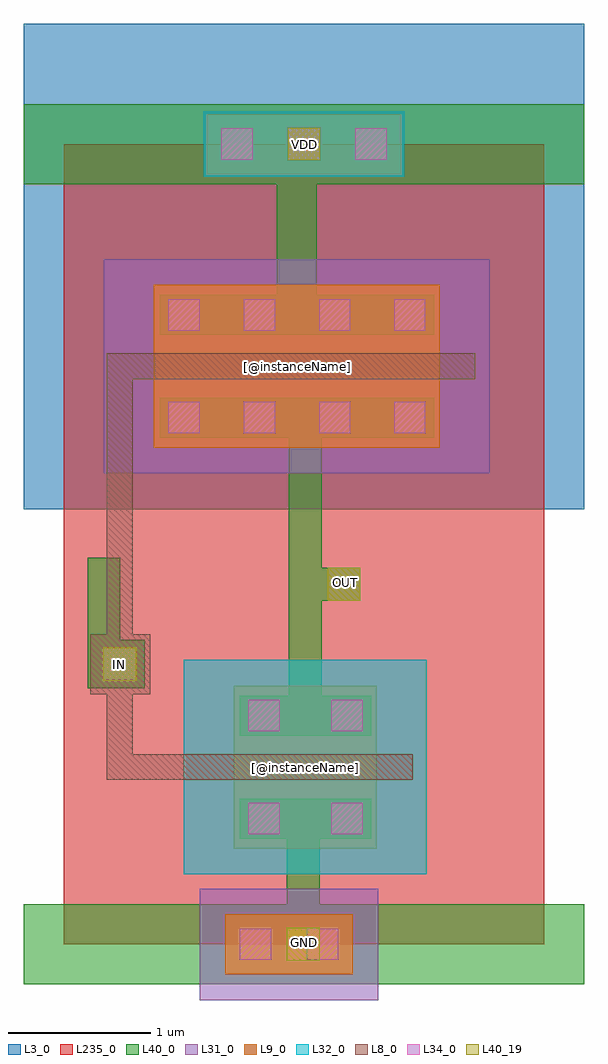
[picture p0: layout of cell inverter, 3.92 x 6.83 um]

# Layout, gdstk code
import gdstk
lib = gdstk.Library(unit=1e-6, precision=1e-09)
def R(c, l, rs):  # rectangles x0, y0, x1, y1
    for r in rs: c.add(gdstk.rectangle(r[:2], r[2:], *l))
def A(c, l, x, y, w, h, nx, ny, dx, dy):  # array of equal rectangles
    R(c, l, [(x+i*dx, y+j*dy, x+i*dx+w, y+j*dy+h) for i in range(nx) for j in range(ny)])
L3_0 = (3, 0)
L8_0 = (8, 0)
L9_0 = (9, 0)
L31_0 = (31, 0)
L32_0 = (32, 0)
L34_0 = (34, 0)
L40_0 = (40, 0)
L40_19 = (40, 19)
L235_0 = (235, 0)

ptap_lg_cdns_77814825674 = lib.new_cell('PTAP_LG_CDNS_778148256740')
R(ptap_lg_cdns_77814825674, L9_0, [(-0.445,-0.21,0.445,0.21)])
R(ptap_lg_cdns_77814825674, L31_0, [(-0.625,-0.39,0.625,0.39)])
R(ptap_lg_cdns_77814825674, L34_0, [(-0.345,-0.11,-0.125,0.11), (0.125,-0.11,0.345,0.11)])
R(ptap_lg_cdns_77814825674, L40_0, [(-0.405,-0.17,0.405,0.17)])

m1_po_cdns_778148256741 = lib.new_cell('M1_PO_CDNS_778148256741')
R(m1_po_cdns_778148256741, L8_0, [(-0.21,-0.21,0.21,0.21)])
R(m1_po_cdns_778148256741, L34_0, [(-0.11,-0.11,0.11,0.11)])
R(m1_po_cdns_778148256741, L40_0, [(-0.17,-0.17,0.17,0.17)])

m1_wn_cdns_778148256742 = lib.new_cell('M1_WN_CDNS_778148256742')
R(m1_wn_cdns_778148256742, L3_0, [(-0.86,-0.43,0.86,0.43)])
R(m1_wn_cdns_778148256742, L9_0, [(-0.68,-0.21,0.68,0.21)])
R(m1_wn_cdns_778148256742, L32_0, [(-0.7,-0.23,0.7,0.23)])
A(m1_wn_cdns_778148256742, L34_0, -0.58, -0.11, 0.22, 0.22, 3, 1, 0.47, 0)
R(m1_wn_cdns_778148256742, L40_0, [(-0.64,-0.17,0.64,0.17)])

inverter = lib.new_cell('inverter')
R(inverter, L3_0, [(-0.28,3.045,3.64,6.44), (0.2,3.045,3.06,5.045)])
R(inverter, L8_0, [(0.94,1.15,1.19,1.33), (1.19,1.15,2.19,1.33), (2.19,1.15,2.44,1.33), (0.38,3.955,0.63,4.135), (0.63,3.955,2.63,4.135), (2.63,3.955,2.88,4.135)])
R(inverter, L9_0, [(1.19,0.67,2.19,1.15), (1.19,1.15,2.19,1.33), (1.19,1.33,2.19,1.81), (0.63,3.475,2.63,3.955), (0.63,3.955,2.63,4.135), (0.63,4.135,2.63,4.615)])
R(inverter, L31_0, [(0.28,3.295,2.98,4.795)])
R(inverter, L32_0, [(0.84,0.49,2.54,1.99)])
A(inverter, L34_0, 1.26, 3.575, 0.22, 0.22, 3, 2, 0.525, 0.72)
R(inverter, L34_0, [(1.29,0.77,1.51,0.99), (1.87,0.77,2.09,0.99), (1.29,1.49,1.51,1.71), (1.87,1.49,2.09,1.71), (0.73,3.575,0.95,3.795), (0.73,4.295,0.95,4.515)])
R(inverter, L40_0, [(-0.28,-0.28,3.64,0.28), (1.23,0.74,2.15,1.02), (1.23,1.46,2.15,1.74), (0.67,3.545,2.59,3.825), (0.67,4.265,2.59,4.545), (-0.28,5.32,3.64,5.88)])
R(inverter, L40_19, [(1.56,-0.115,1.79,0.115), (0.275,1.845,0.505,2.075), (1.845,2.405,2.075,2.635), (1.565,5.485,1.795,5.715)])
R(inverter, L235_0, [(0,0,3.36,5.6)])
inverter.add(gdstk.FlexPath([(1.675,-0.115),(1.675,0.74)], 0.23, ends="flush", simple_path=True, layer=40, datatype=0))  # L40_0
inverter.add(gdstk.FlexPath([(1.63,4.405),(1.63,5.32)], 0.28, ends=(0.14, 0), simple_path=True, layer=40, datatype=0))  # L40_0
inverter.add(gdstk.FlexPath([(0.28,1.79),(0.28,2.705)], 0.23, ends="flush", simple_path=True, layer=40, datatype=0))  # L40_0
inverter.add(gdstk.FlexPath([(1.69,2.52),(1.69,3.545)], 0.23, ends=(0.115, 0), simple_path=True, layer=40, datatype=0))  # L40_0
inverter.add(gdstk.FlexPath([(1.69,1.74),(1.69,2.52)], 0.23, ends=(0, 0.115), simple_path=True, layer=40, datatype=0))  # L40_0
inverter.add(gdstk.FlexPath([(2.075,2.52),(1.69,2.52)], 0.23, ends=(0, 0.115), simple_path=True, layer=40, datatype=0))  # L40_0
inverter.add(gdstk.FlexPath([(0.39,1.24),(0.39,4.135)], 0.18, ends=(0.09, 0), simple_path=True, layer=8, datatype=0))  # L8_0
inverter.add(gdstk.FlexPath([(0.94,1.24),(0.39,1.24)], 0.18, ends=(0, 0.09), simple_path=True, layer=8, datatype=0))  # L8_0
inverter.add(gdstk.Reference(ptap_lg_cdns_77814825674, (1.575,0)))
inverter.add(gdstk.Reference(m1_po_cdns_778148256741, (0.395,1.96)))
inverter.add(gdstk.Reference(m1_wn_cdns_778148256742, (1.68,5.6)))
inverter.add(gdstk.Label('[@instanceName]', (1.632,4.045), layer=77, texttype=7))
inverter.add(gdstk.Label('[@instanceName]', (1.692,1.24), layer=77, texttype=7))
inverter.add(gdstk.Label('OUT', (1.97,2.53), layer=40, texttype=7))
inverter.add(gdstk.Label('IN', (0.39,1.96), layer=40, texttype=7))
inverter.add(gdstk.Label('GND', (1.68,0.01), layer=40, texttype=7))
inverter.add(gdstk.Label('VDD', (1.685,5.595), layer=40, texttype=7))
inverter.add(gdstk.Label('OUT', (1.97,2.53), layer=40, texttype=7))
inverter.add(gdstk.Label('IN', (0.39,1.96), layer=40, texttype=7))
inverter.add(gdstk.Label('GND', (1.68,0.01), layer=40, texttype=7))
inverter.add(gdstk.Label('VDD', (1.685,5.595), layer=40, texttype=7))

lib.write_gds('inverter.gds')
